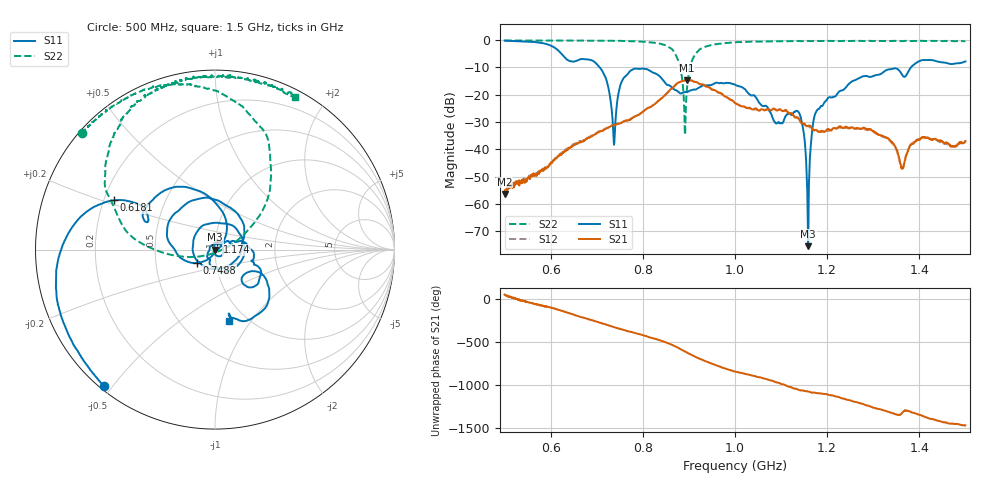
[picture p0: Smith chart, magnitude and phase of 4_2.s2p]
!Agilent Technologies,E8364B,US42250235,A.06.04.32
!Agilent E8364B: A.06.04.32
!Date: Friday, January 15, 2021 12:02:38
!Correction: S11(Full 2 Port(1,2)) S21(Full 2 Port(1,2)) S12(Full 2 Port(1,2)) S22(Full 2 Port(1,2))
!S2P File: Measurements: S11, S21, S12, S22:
# Hz S  dB  R 50
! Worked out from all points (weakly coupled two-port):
!   1601 points, 500 MHz to 1.5 GHz, reference 50 ohm
!   highest |S21| = -14.59 dB at 895 MHz (marker M1); lowest = -56.3 dB at 500 MHz (marker M2)
!   lowest |S11| = -75.4 dB at 1.159 GHz (marker M3), VSWR 1.00, Z = 50 - j0.00432 ohm
!   |S11| at or under -10 dB: 706.8 MHz to 1.382 GHz (675 MHz wide, 64.6 % of centre)
!   |S22| runs from -34.6 to -0.1 dB; largest |S21 - S12| = 0.0051
!   S11 on the Smith chart (normalised r, x): 500 MHz: 0.01, -0.47; 618.1 MHz: 0.24, +0.22; 748.8 MHz: 0.81, -0.12; 1.174 GHz: 1.02, +0.09; 1.5 GHz: 0.83, -0.79
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5e8  -0.17 -129.2  -56.30 50.8  -55.03 51.2  -0.12 138.6
5.7625e8  -0.92 -170.1  -48.45 -75.9  -48.18 -70.1  -0.15 131.3
6.18125e8  -4.05 154.1  -42.31 -128.2  -42.13 -128.1  -0.14 128.0
6.66875e8  -6.90 151.8  -37.24 146.8  -37.02 145.6  -0.15 122.1
7.15625e8  -12.40 85.2  -32.88 69.8  -32.63 67.4  -0.23 116.4
7.36875e8  -37.14 -14.7  -31.11 32.4  -30.94 30.9  -0.24 113.5
7.4875e8  -18.15 -143.1  -30.56 13.4  -30.37 11.6  -0.25 110.8
8.3375e8  -12.88 52.4  -22.23 -115.9  -22.22 -117.2  -1.15 88.1
8.70625e8  -18.28 -39.4  -16.44 168.5  -16.49 166.9  -5.14 55.7
8.95e8  -19.01 -128.7  -14.59 98.4  -14.61 97.9  -19.34 -158.4
9.18125e8  -17.75 158.8  -15.47 36.5  -15.57 35.9  -4.30 157.3
1e9  -16.28 -36.1  -23.04 -124.6  -22.94 -125.5  -0.80 121.2
1.08875e9  -30.48 179.1  -25.56 111.5  -25.43 112.5  -0.39 107.0
1.1375e9  -26.23 -46.4  -28.51 24.3  -28.82 23.8  -0.33 101.4
1.148125e9  -32.75 -96.7  -30.46 14.7  -30.66 10.6  -0.32 99.6
1.15875e9  -75.42 -165.2  -31.47 5.2  -31.66 1.3  -0.30 99.6
1.166875e9  -33.93 101.2  -32.21 -9.4  -32.26 -7.6  -0.34 97.9
1.17375e9  -27.06 73.7  -32.79 -10.4  -33.09 -12.7  -0.29 96.9
1.33375e9  -10.71 -28.8  -36.27 125.7  -36.71 128.5  -0.30 80.8
1.3625e9  -12.61 -50.0  -46.98 114.6  -46.59 117.3  -0.33 77.6
1.406875e9  -7.32 -51.2  -35.41 80.4  -35.84 80.4  -0.26 73.5
1.5e9  -7.80 -78.7  -36.90 -31.1  -36.95 -30.3  -0.35 62.4
